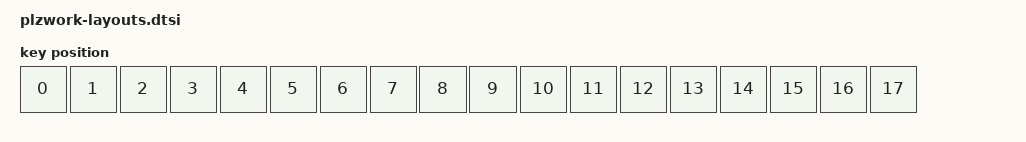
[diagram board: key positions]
/*
 * Copyright (c) 2025
 * SPDX-License-Identifier: MIT
 */

#include <physical_layouts.dtsi>

 / {
    plzwork_position_map {
        compatible = "zmk,physical-layout-position-map";
        complete;

        // Connects to the layout transform
        pinout_map: pinout_positions {
            physical-layout = <&physical_layout0>;
            positions = <0 1 2 3 4 5 6 7 8 9 10 11 12 13 14 15 16 17>;
        };
    };

    physical_layout0: physical_layout_0 {
        compatible = "zmk,physical-layout";
        display-name = "Pro Micro Inline";

        // Simple inline layout: 18 keys in a row
        keys =
            <&key_physical_attrs 100 100    0    0    0    0    0>   // 0
          , <&key_physical_attrs 100 100  100    0    0    0    0>   // 1
          , <&key_physical_attrs 100 100  200    0    0    0    0>   // 2
          , <&key_physical_attrs 100 100  300    0    0    0    0>   // 3
          , <&key_physical_attrs 100 100  400    0    0    0    0>   // 4
          , <&key_physical_attrs 100 100  500    0    0    0    0>   // 5
          , <&key_physical_attrs 100 100  600    0    0    0    0>   // 6
          , <&key_physical_attrs 100 100  700    0    0    0    0>   // 7
          , <&key_physical_attrs 100 100  800    0    0    0    0>   // 8
          , <&key_physical_attrs 100 100  900    0    0    0    0>   // 9
          , <&key_physical_attrs 100 100 1000    0    0    0    0>   // 10
          , <&key_physical_attrs 100 100 1100    0    0    0    0>   // 11
          , <&key_physical_attrs 100 100 1200    0    0    0    0>   // 12
          , <&key_physical_attrs 100 100 1300    0    0    0    0>   // 13
          , <&key_physical_attrs 100 100 1400    0    0    0    0>   // 14
          , <&key_physical_attrs 100 100 1500    0    0    0    0>   // 15
          , <&key_physical_attrs 100 100 1600    0    0    0    0>   // 16
          , <&key_physical_attrs 100 100 1700    0    0    0    0>   // 17
            ;
    };
};
